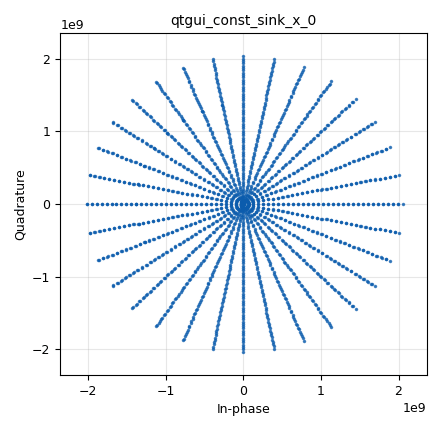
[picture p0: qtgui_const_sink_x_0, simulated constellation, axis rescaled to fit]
options:
  parameters:
    comment: |-
      toDO
      -add autocorr function
    generate_options: qt_gui
    id: testautocorrelationfunction
    output_language: python
    title: Not titled yet
  states: {}

blocks:
- name: samp_rate
  id: variable
  parameters:
    value: '32000'
  states: {}
- name: analog_sig_source_x_0
  id: analog_sig_source_x
  parameters:
    amp: '1000'
    freq: '1000'
    offset: '0'
    phase: '0'
    samp_rate: samp_rate
    type: complex
    waveform: analog.GR_COS_WAVE
  states: {}
- name: analog_sig_source_x_1
  id: analog_sig_source_x
  parameters:
    amp: '1000'
    freq: '1000'
    offset: '0'
    phase: 3.14*.5
    samp_rate: samp_rate
    type: complex
    waveform: analog.GR_COS_WAVE
  states: {}
- name: blocks_file_sink_0
  id: blocks_file_sink
  parameters:
    file: C:\Users\Kate\OSUProject\MastersProject\test_file
    type: complex
  states: {state: disabled}
- name: blocks_throttle2_0
  id: blocks_throttle2
  parameters:
    samples_per_second: samp_rate
    type: complex
  states: {}
- name: epy_block_1
  id: epy_block
  parameters:
    _source_code: |
      """
      Embedded Python Blocks:

      Each time this file is saved, GRC will instantiate the first class it finds
      to get ports and parameters of your block. The arguments to __init__  will
      be the parameters. All of them are required to have default values!
      """

      import numpy as np
      from gnuradio import gr


      class blk(gr.sync_block):  # other base classes are basic_block, decim_block, interp_block
          """Embedded Python Block example - a simple multiply const"""

          def __init__(self, additionFlag=True):  # only default arguments here
              """arguments to this function show up as parameters in GRC"""
              gr.sync_block.__init__(
                  self,
                  name='Add or Multiply Block',   # will show up in GRC
                  in_sig=[np.complex64, np.complex64],
                  out_sig=[np.complex64]
              )
              # if an attribute with the same name as a parameter is found,
              # a callback is registered (properties work, too).
              self.additionFlag = additionFlag

          def work(self, input_items, output_items):
              """example: multiply with constant"""

              if self.additionFlag:
                  output_items[0][:] = input_items[0][:] + input_items[1][:]
              else:
                  output_items[0][:] = input_items[0][:] * input_items[1][:]

              return len(output_items[0])
    additionFlag: 'True'
  states: {}
- name: epy_block_2
  id: epy_block
  parameters:
    _source_code: "\n\"\"\"\nCorrelation/Sync Block\nDeveloped by Kate Gothberg\nLast Edited: 5/9/25\n\n\"\"\"\n\n\nimport numpy as np\nfrom gnuradio import gr\n\n\nclass blk(gr.sync_block):\n    \n    \"\"\"\n    initialize the block\n    params:\n        in_sig: input samples\n        out_sig: output samples\n        window: number of samples to correlate over\n    \"\"\"\n    def __init__(self, window=1.0):  \n        gr.sync_block.__init__(\n            self,\n            name='Correlation/Synch Block', \n            in_sig=[np.complex64],\n            out_sig=[np.complex64]\n        )\n        self.window = window\n\n    \"\"\"\n    functional code over samples\n    \"\"\"\n    def work(self, input_items, output_items):\n\n        samples = input_items[0] #rename input samples\n        symbol_buffer = []       #storage for each block of samples\n\n        #iterate for all samples\n        for i, sample in enumerate(samples):\n\n            #add to sample block\n            symbol_buffer.append(samples[i])\n\n            #if block is full continue processing\n            if len(symbol_buffer) > self.window:\n\n                \n                #correlation and reset of buffer\n                corr_data = np.correlate(symbol_buffer, symbol_buffer, \"full\")\n                symbol_buffer = []\n\n                #output correlation samples\n                for j in range(len(corr_data)-1):\n                    output_items[0][j] = corr_data[j]\n\n        return len(output_items[0])\n"
    window: '1024'
  states: {}
- name: qtgui_const_sink_x_0
  id: qtgui_const_sink_x
  parameters:
    size: '2049'
    type: complex
  states: {}

connections:
- [analog_sig_source_x_0, '0', epy_block_1, '0']
- [analog_sig_source_x_1, '0', epy_block_1, '1']
- [blocks_throttle2_0, '0', epy_block_2, '0']
- [epy_block_1, '0', blocks_throttle2_0, '0']
- [epy_block_2, '0', qtgui_const_sink_x_0, '0']

metadata:
  file_format: 1
  grc_version: 3.10.10.0
